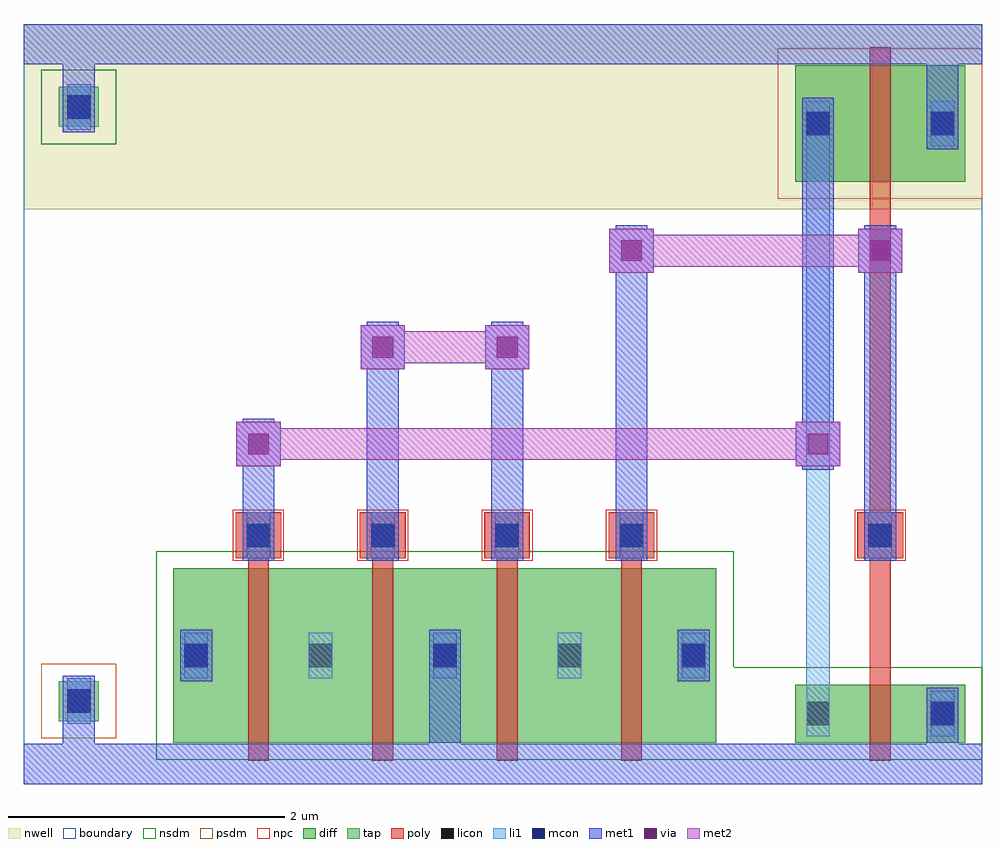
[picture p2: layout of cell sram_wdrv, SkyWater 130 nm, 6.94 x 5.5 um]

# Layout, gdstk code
import gdstk
lib = gdstk.Library(unit=1e-6, precision=1e-09)
def R(c, l, rs):  # rectangles x0, y0, x1, y1
    for r in rs: c.add(gdstk.rectangle(r[:2], r[2:], *l))
def A(c, l, x, y, w, h, nx, ny, dx, dy):  # array of equal rectangles
    R(c, l, [(x+i*dx, y+j*dy, x+i*dx+w, y+j*dy+h) for i in range(nx) for j in range(ny)])
nwell = (64, 20)
diff = (65, 20)
tap = (65, 44)
poly = (66, 20)
licon = (66, 44)
li1 = (67, 20)
mcon = (67, 44)
met1 = (68, 20)
via = (68, 44)
met2 = (69, 20)
nsdm = (93, 44)
psdm = (94, 20)
npc = (95, 20)
boundary = (235, 4)

sram_wdrv = lib.new_cell('sram_wdrv')
R(sram_wdrv, nwell, [(0,4.16,6.94,5.5)])
R(sram_wdrv, diff, [(1.085,0.3,5.015,1.56), (5.585,0.3,6.815,0.72), (5.585,4.36,6.815,5.2)])
R(sram_wdrv, tap, [(0.255,0.455,0.545,0.745), (0.255,4.755,0.545,5.045)])
A(sram_wdrv, poly, 1.625, 0.17, 0.15, 1.795, 4, 1, 0.9, 0)
A(sram_wdrv, poly, 1.535, 1.635, 0.33, 0.33, 4, 1, 0.9, 0)
R(sram_wdrv, poly, [(6.125,0.17,6.275,5.33), (6.035,1.635,6.365,1.965)])
A(sram_wdrv, licon, 1.165, 0.845, 0.17, 0.17, 5, 1, 0.9, 0)
A(sram_wdrv, licon, 1.615, 1.715, 0.17, 0.17, 4, 1, 0.9, 0)
R(sram_wdrv, licon, [(5.665,0.425,5.835,0.595), (6.565,0.425,6.735,0.595), (0.315,0.515,0.485,0.685), (6.115,1.715,6.285,1.885), (5.665,4.695,5.835,4.865), (6.565,4.695,6.735,4.865), (0.315,4.815,0.485,4.985)])
A(sram_wdrv, li1, 1.165, 0.765, 0.17, 0.33, 5, 1, 0.9, 0)
A(sram_wdrv, li1, 1.615, 1.635, 0.17, 0.33, 4, 1, 0.9, 0)
R(sram_wdrv, li1, [(5.665,0.345,5.835,0.675), (6.565,0.345,6.735,0.675), (0.315,0.435,0.485,0.765), (5.665,0.51,5.835,4.78), (6.115,1.635,6.285,1.965), (5.665,4.615,5.835,4.945), (6.565,4.615,6.735,4.945), (0.315,4.735,0.485,5.065)])
A(sram_wdrv, mcon, 1.165, 0.845, 0.17, 0.17, 3, 1, 1.8, 0)
A(sram_wdrv, mcon, 1.615, 1.715, 0.17, 0.17, 4, 1, 0.9, 0)
R(sram_wdrv, mcon, [(6.565,0.425,6.735,0.595), (0.315,0.515,0.485,0.685), (6.115,1.715,6.285,1.885), (5.665,4.695,5.835,4.865), (6.565,4.695,6.735,4.865), (0.315,4.815,0.485,4.985)])
A(sram_wdrv, met1, 1.585, 1.615, 0.23, 0.37, 4, 1, 0.9, 0)
R(sram_wdrv, met1, [(0,0,6.94,0.29), (0.285,0.145,0.515,0.6), (2.935,0.145,3.165,1.115), (6.535,0.145,6.765,0.695), (0.285,0.415,0.515,0.785), (1.135,0.745,1.365,1.115), (4.735,0.745,4.965,1.115), (1.585,1.615,1.815,2.645), (2.485,1.615,2.715,3.345), (3.385,1.615,3.615,3.345), (4.285,1.615,4.515,4.045), (6.085,1.615,6.315,1.985), (6.085,1.615,6.315,4.045), (5.635,2.275,5.865,4.965), (1.54,2.3,1.86,2.62), (5.59,2.3,5.91,2.62), (2.44,3,2.76,3.32), (3.34,3,3.66,3.32), (4.24,3.7,4.56,4.02), (6.04,3.7,6.36,4.02), (6.535,4.595,6.765,5.355), (0.285,4.715,0.515,5.085), (0.285,4.9,0.515,5.355), (0,5.21,6.94,5.5)])
R(sram_wdrv, via, [(1.625,2.385,1.775,2.535), (5.675,2.385,5.825,2.535), (2.525,3.085,2.675,3.235), (3.425,3.085,3.575,3.235), (4.325,3.785,4.475,3.935), (6.125,3.785,6.275,3.935)])
R(sram_wdrv, met2, [(1.54,2.3,1.86,2.62), (5.59,2.3,5.91,2.62), (1.54,2.345,5.91,2.575), (2.44,3,2.76,3.32), (3.34,3,3.66,3.32), (2.44,3.045,3.66,3.275), (4.24,3.7,4.56,4.02), (6.04,3.7,6.36,4.02), (4.24,3.745,6.36,3.975)])
R(sram_wdrv, nsdm, [(0.96,0.175,5.14,1.685), (5.14,0.175,5.46,0.845), (5.46,0.175,6.94,0.845), (0.13,4.63,0.67,5.17)])
R(sram_wdrv, psdm, [(0.13,0.33,0.67,0.87), (5.46,4.235,6.94,5.325)])
A(sram_wdrv, npc, 1.515, 1.615, 0.37, 0.37, 4, 1, 0.9, 0)
R(sram_wdrv, npc, [(6.015,1.615,6.385,1.985)])
R(sram_wdrv, boundary, [(0,0,6.94,5.5)])

lib.write_gds('sram_wdrv.gds')
